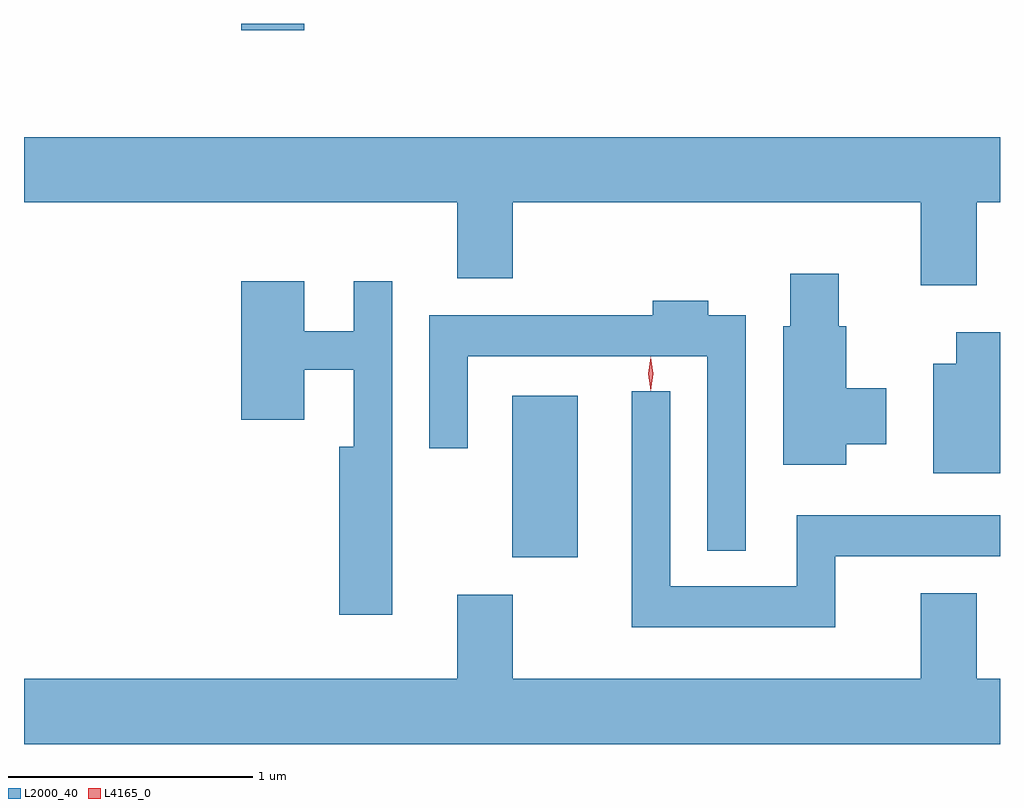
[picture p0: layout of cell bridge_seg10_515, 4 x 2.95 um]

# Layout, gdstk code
import gdstk
lib = gdstk.Library(unit=1e-6, precision=1e-09)
def R(c, l, rs):  # rectangles x0, y0, x1, y1
    for r in rs: c.add(gdstk.rectangle(r[:2], r[2:], *l))
def P(c, l, *ps):  # polygons
    for p in ps: c.add(gdstk.Polygon(p, *l))
L2000_40 = (2000, 40)
L4165_0 = (4165, 0)

bridge_seg10_515 = lib.new_cell('bridge_seg10_515')
R(bridge_seg10_515, L2000_40, [(802.456,2167.961,802.724,2168.624), (801.346,2170.121,801.604,2170.148)])
P(bridge_seg10_515, L2000_40, [(804.359,2169.416),(804.455,2169.416),(804.455,2169.684),(800.455,2169.684),(800.455,2169.416),(802.231,2169.416),(802.231,2169.106),(802.459,2169.106),(802.459,2169.416),(804.131,2169.416),(804.131,2169.076),(804.359,2169.076)],
  [(803.824,2168.426),(803.989,2168.426),(803.989,2168.654),(803.824,2168.654),(803.824,2168.909),(803.794,2168.909),(803.794,2169.124),(803.596,2169.124),(803.596,2168.909),(803.566,2168.909),(803.566,2168.341),(803.824,2168.341)],
  [(801.964,2169.093),(801.806,2169.093),(801.806,2168.889),(801.604,2168.889),(801.604,2169.094),(801.346,2169.094),(801.346,2168.526),(801.604,2168.526),(801.604,2168.731),(801.806,2168.731),(801.806,2168.414),(801.746,2168.414),(801.746,2167.726),(801.964,2167.726)],
  [(803.414,2168.954),(803.259,2168.954),(803.259,2169.014),(803.031,2169.014),(803.031,2168.954),(802.116,2168.954),(802.116,2168.408),(802.274,2168.408),(802.274,2168.786),(803.256,2168.786),(803.256,2167.988),(803.414,2167.988)],
  [(804.455,2168.884),(804.276,2168.884),(804.276,2168.754),(804.181,2168.754),(804.181,2168.306),(804.455,2168.306)],
  [(803.779,2167.966),(804.455,2167.966),(804.455,2168.134),(803.621,2168.134),(803.621,2167.844),(803.104,2167.844),(803.104,2168.643),(802.946,2168.643),(802.946,2167.676),(803.779,2167.676)],
  [(804.455,2167.464),(804.359,2167.464),(804.359,2167.814),(804.131,2167.814),(804.131,2167.464),(802.459,2167.464),(802.459,2167.809),(802.231,2167.809),(802.231,2167.464),(800.455,2167.464),(800.455,2167.196),(804.455,2167.196)])
P(bridge_seg10_515, L4165_0, [(803.023,2168.644),(803.023,2168.644),(803.013,2168.713),(803.023,2168.782),(803.023,2168.783),(803.024,2168.782),(803.033,2168.713),(803.024,2168.644)],
  [(803.023,2168.647),(803.023,2168.647),(803.013,2168.714),(803.023,2168.78),(803.023,2168.78),(803.024,2168.78),(803.033,2168.714),(803.024,2168.647)])

lib.write_gds('bridge_seg10_515.gds')
